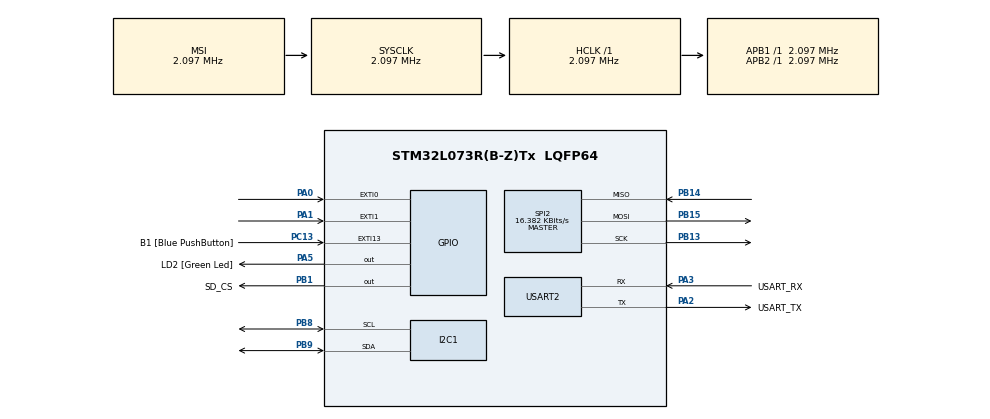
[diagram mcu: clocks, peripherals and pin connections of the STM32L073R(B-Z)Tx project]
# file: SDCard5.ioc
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FREERTOS.INCLUDE_vTaskDelayUntil=1
FREERTOS.Tasks01=defaultTask,0,128,StartDefaultTask,Default,NULL,Dynamic,NULL,NULL
FREERTOS.configTICK_RATE_HZ=1000
FREERTOS.configTOTAL_HEAP_SIZE=10240
I2C1.Timing=0x00000608
Mcu.Family=STM32L0
Mcu.Name=STM32L073R(B-Z)Tx
Mcu.Package=LQFP64
NVIC.EXTI0_1_IRQn=true\:3\:0\:false\:false\:true\:true\:true\:true\:true
PA0.GPIO_ModeDefaultEXTI=GPIO_MODE_IT_FALLING
PA0.GPIO_PuPd=GPIO_PULLUP
PA0.Signal=GPXTI0
PA1.GPIO_ModeDefaultEXTI=GPIO_MODE_IT_FALLING
PA1.GPIO_PuPd=GPIO_PULLUP
PA1.Signal=GPXTI1
PA13.GPIO_Label=TMS
PA13.Mode=Serial_Wire
PA13.Signal=SYS_SWDIO
PA14.GPIO_Label=TCK
PA14.Mode=Serial_Wire
PA14.Signal=SYS_SWCLK
PA2.GPIO_Label=USART_TX
PA2.Mode=Asynchronous
PA2.Signal=USART2_TX
PA3.GPIO_Label=USART_RX
PA3.Mode=Asynchronous
PA3.Signal=USART2_RX
PA5.GPIO_Label=LD2 [Green Led]
PA5.Signal=GPIO_Output
PB1.GPIO_Label=SD_CS
PB1.Signal=GPIO_Output
PB13.Mode=Full_Duplex_Master
PB13.Signal=SPI2_SCK
PB14.Mode=Full_Duplex_Master
PB14.Signal=SPI2_MISO
PB15.Mode=Full_Duplex_Master
PB15.Signal=SPI2_MOSI
PB8.Mode=I2C
PB8.Signal=I2C1_SCL
PB9.Mode=I2C
PB9.Signal=I2C1_SDA
PC13.GPIO_Label=B1 [Blue PushButton]
PC13.GPIO_ModeDefaultEXTI=GPIO_MODE_IT_FALLING
PC13.Signal=GPXTI13
PC14-OSC32_IN.Mode=LSE-External-Oscillator
PC14-OSC32_IN.Signal=RCC_OSC32_IN
PC15-OSC32_OUT.Mode=LSE-External-Oscillator
PC15-OSC32_OUT.Signal=RCC_OSC32_OUT
PH0-OSC_IN.GPIO_Label=MCO
PH0-OSC_IN.Mode=HSE-External-Clock-Source
PH0-OSC_IN.Signal=RCC_OSC_IN
ProjectManager.HeapSize=0x200
ProjectManager.StackSize=0x400
ProjectManager.TargetToolchain=STM32CubeIDE
RCC.AHBFreq_Value=2097000
RCC.APB1Freq_Value=2097000
RCC.APB1TimFreq_Value=2097000
RCC.APB2Freq_Value=2097000
RCC.APB2TimFreq_Value=2097000
RCC.HSE_VALUE=8000000
RCC.HSI16_VALUE=16000000
RCC.HSI48_VALUE=48000000
RCC.HSI_VALUE=16000000
RCC.MSI_VALUE=2097000
RCC.SYSCLKFreq_VALUE=2097000
RCC.VCOOutputFreq_Value=48000000
SPI2.BaudRatePrescaler=SPI_BAUDRATEPRESCALER_128
SPI2.CalculateBaudRate=16.382 KBits/s
SPI2.Direction=SPI_DIRECTION_2LINES
SPI2.Mode=SPI_MODE_MASTER
SPI2.VirtualType=VM_MASTER
USART2.VirtualMode-Asynchronous=VM_ASYNC
VP_FATFS_VS_Generic.Mode=User_defined
VP_FREERTOS_VS_CMSIS_V1.Mode=CMSIS_V1
board=NUCLEO-L073RZ

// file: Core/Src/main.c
/* USER CODE BEGIN Header */
/**
  ******************************************************************************
  * @file           : main.c
  * @brief          : Main program body
  ******************************************************************************
  * @attention
  *
  * Copyright (c) 2024 STMicroelectronics.
  * All rights reserved.
  *
  * This software is licensed under terms that can be found in the LICENSE file
  * in the root directory of this software component.
  * If no LICENSE file comes with this software, it is provided AS-IS.
  *
  ******************************************************************************
  */
/* USER CODE END Header */
#include "main.h"
#include "cmsis_os.h"
#include "fatfs.h"

/* USER CODE BEGIN Includes */
#include <stdbool.h>
#include <stdio.h>
#include "filter.h"
#include <string.h>
#include <stdarg.h> //for va_list var arg functions
/* USER CODE END Includes */

/* USER CODE BEGIN PTD */
#include "FreeRTOS.h"
#include "task.h"
#include "queue.h"
#include "semphr.h"

// Define data structures for raw and processed data
typedef struct {
    uint32_t redLED;
    uint32_t irLED;
} SensorData_t;

typedef struct {
    int bpm;
    float spo2;
} ProcessedData_t;

// Declare queues
QueueHandle_t xQueueSensorData;
QueueHandle_t xQueueProcessedData;

FATFS FatFs; 	//Fatfs handle
FIL fil; 		//File handle
FRESULT fres;
/* USER CODE END PTD */

/* USER CODE BEGIN PD */
	I2C_HandleTypeDef hi2c1;
	UART_HandleTypeDef huart2;
	TaskHandle_t xTemperatureTaskHandle = NULL;
	SemaphoreHandle_t xI2CSemaphore;

	/* Constants */
	const float rThreshold = 0.7;

	const float kLowPassCutoff = 5.0;   // 5 hz
	const float kHighPassCutoff = 0.5;  // 0.5 hz
	const float kSamplingFrequency = 400.0;
	const float kEdgeThreshold = -2000.0;

	const unsigned long kFingerThreshold = 10000;
	const unsigned int kFingerCooldownMs = 500;

	const float decayRate = 0.02;
	const float thrRate = 0.05;
	const int minDiff = 50;
	const uint32_t fingerThreshold = 10000;  // threshold for detecting a finger on the sensor

	float maxValue = 0;
	float minValue = 0;
	float threshold = 0;
	long lastHeartbeat = 0;
	float lastValue = 0;
	int fingerDetected = 0;

	float last_diff = NAN;
	bool crossed = false;
	long crossed_time = 0;
	/* variables */
	LowPassFilter low_pass_filter_red;
	LowPassFilter low_pass_filter_ir;
	HighPassFilter high_pass_filter;
	LowPassFilter low_pass_filter;
	Differentiator differentiator;
	MovingAverageFilter moving_avg_filter;
	MovingAverageFilter moving_avg_bpm;
	MovingAverageFilter moving_avg_spo2;
	/* statistic Variables */
	MinMaxAvgStatistic stat_red;
	MinMaxAvgStatistic stat_ir;

	/* finger Detection */
	long finger_timestamp = 0;
	bool finger_detected = false;

	void initialize_filters() {
		HighPassFilter_Init(&high_pass_filter, kHighPassCutoff, kSamplingFrequency);
		LowPassFilter_Init(&low_pass_filter_red, kLowPassCutoff, kSamplingFrequency);
		LowPassFilter_Init(&low_pass_filter_ir, kLowPassCutoff, kSamplingFrequency);
		Differentiator_Init(&differentiator, kSamplingFrequency);
		MovingAverageFilter_Init(&moving_avg_filter);
		MovingAverageFilter_Init(&moving_avg_bpm);
		MovingAverageFilter_Init(&moving_avg_spo2);
	}

	/* SpO2 Calibration Coefficients */
	float kSpO2_A = 1.5958422;
	float kSpO2_B = -34.6596622;
	float kSpO2_C = 112.6898759;

	/* Pulse Oximetry SpO2 Calculation */
	float calculate_SpO2(float rred, float rir) {
		float r = rred / rir;
		float spo2 = kSpO2_A * r * r + kSpO2_B * r + kSpO2_C;
		return spo2;
	}
/* USER CODE END PD */

I2C_HandleTypeDef hi2c1;

SPI_HandleTypeDef hspi2;

UART_HandleTypeDef huart2;

osThreadId defaultTaskHandle;
/* USER CODE BEGIN PV */
#define MAX30102_ADDRESS  0x57 // I2C address ==== of MAX30102

void Transmit_UART(const char *msg) {
		HAL_UART_Transmit(&huart2, (uint8_t*)msg, strlen(msg), HAL_MAX_DELAY);
	}

void MAX30102_Init(void) {
	uint8_t configData[2];

//		0,1 == adress, value
	configData[0] = 0x09;  // select MODE_CONFIG register
	configData[1] = 0x03;  // set SpO2 mode (0x03== SpO2, 0x02 == heart rate only)
//		hi2cl handler for i2c
//		address shifterd by 1 only 7 bit sent (required)
//		2 indicate only 2 bytes to send

	HAL_I2C_Master_Transmit(&hi2c1, MAX30102_ADDRESS << 1, configData, 2, HAL_MAX_DELAY);

	// Set the LED pulse amplitude (this is an example, values need to be set properly)
	configData[0] = 0x0C;  // LED1_PULSE_AMPLITUDE ka register
	configData[1] = 0x1F;  // set the pulse amplitude for LED1 (Red LED we can see naked eyes)
	//		hi2cl handler for i2c
	//		adreess shifterd by 1 only 7 bit sent (required)
	//		2 indicate only 2 bytes to send

	HAL_I2C_Master_Transmit(&hi2c1, MAX30102_ADDRESS << 1, configData, 2, HAL_MAX_DELAY);

	// set LED2 (IR LED) pulse Amplitude
	configData[0] = 0x0D;  //register of ir led
	configData[1] = 0x1F;  // infra red LED
	//		hi2cl handler for i2c
	//		adreess shifterd by 1 only 7 bit sent (required)
	//		2 indicate only 2 bytes to send
	//		HAL_MAX_DELAY allows operation to block until successful trastmittion
	HAL_I2C_Master_Transmit(&hi2c1, MAX30102_ADDRESS << 1, configData, 2, HAL_MAX_DELAY);

}

void MAX30102_ReadRawData(uint32_t* redLED, uint32_t* irLED) {
	uint8_t rawData[6];  // 6 byte array as MAX30102 outputs 3 bytes for each LED data
	char uartBuf[50];
	// reading from FIFO register of MAX30102
	xSemaphoreTake(xI2CSemaphore, portMAX_DELAY);
	if (HAL_I2C_Mem_Read(&hi2c1, MAX30102_ADDRESS << 1, 0x07, I2C_MEMADD_SIZE_8BIT, rawData, 6, HAL_MAX_DELAY) != HAL_OK) {
		sprintf(uartBuf, "I2C read error\r\n");
		HAL_UART_Transmit(&huart2, (uint8_t*)uartBuf, strlen(uartBuf), HAL_MAX_DELAY);
        // Release the mutex before error handling
        xSemaphoreGive(xI2CSemaphore);
		Error_Handler();  //  keep printing this message === so  avoid halting the program
	}
    // Release the mutex after I2C operations
    xSemaphoreGive(xI2CSemaphore);
	// combine 3 bytes for each LED (Red and IR)
	*redLED = ((uint32_t)rawData[0] << 16) | ((uint32_t)rawData[1] << 8) | rawData[2];
	*irLED = ((uint32_t)rawData[3] << 16) | ((uint32_t)rawData[4] << 8) | rawData[5];
}

// register Addresses
//	#define MAX30105_INTSTAT1      0x00  // Interrupt Status 1
#define MAX30105_INTSTAT2      0x01  // Interrupt Status 2 stat of interupt  temp 1
//	#define MAX30105_INTENABLE1    0x02  // Interrupt Enable 1
#define MAX30105_INTENABLE2    0x03  // Interrupt Enable 2 INT_DIE_TEMP_RDY_ENABLE
#define MAX30105_DIETEMPCONFIG 0x21  // Die Temperature Config
#define MAX30105_TEMP_INTEGER  0x1F  // Temperature Integer Part
#define MAX30105_TEMP_FRACTION 0x20  // Temperature Fractional Part

#define MAX30105_INT_DIE_TEMP_RDY_ENABLE 0x02  // Bit 1

void CheckAndClearInterruptStatus(void) {
    uint8_t intStatus = 0;  // Variable to store the interrupt status
    char uartBuf[50];

    // Read the Interrupt Status 2 register (0x01)
    HAL_StatusTypeDef status = HAL_I2C_Mem_Read(&hi2c1, MAX30102_ADDRESS << 1, MAX30105_INTSTAT2, I2C_MEMADD_SIZE_8BIT, &intStatus, 1, HAL_MAX_DELAY);

    if (status == HAL_OK) {
        // Successfully read the register, output the status
        sprintf(uartBuf, "Interrupt Status 2: 0x%02X\r\n", intStatus);
        HAL_UART_Transmit(&huart2, (uint8_t*)uartBuf, strlen(uartBuf), HAL_MAX_DELAY);

        // Check if the DIE_TEMP_RDY bit (bit 1) is set
        if (intStatus & MAX30105_INT_DIE_TEMP_RDY_ENABLE) {
            sprintf(uartBuf, "Temperature Ready Interrupt was set, cleared now.\r\n");
            HAL_UART_Transmit(&huart2, (uint8_t*)uartBuf, strlen(uartBuf), HAL_MAX_DELAY);
        } else {
            sprintf(uartBuf, "No Temperature Ready Interrupt pending.\r\n");
            HAL_UART_Transmit(&huart2, (uint8_t*)uartBuf, strlen(uartBuf), HAL_MAX_DELAY);
        }
    } else {
        // If the read fails, output an error message
        sprintf(uartBuf, "Failed to read Interrupt Status 2 register.\r\n");
        HAL_UART_Transmit(&huart2, (uint8_t*)uartBuf, strlen(uartBuf), HAL_MAX_DELAY);
        Error_Handler();
    }
}

void MAX30102_EnableTemperatureInterrupt(void) {
    uint8_t data = MAX30105_INT_DIE_TEMP_RDY_ENABLE;
    // write to INT_ENABLE_2 register (0x03)
    HAL_I2C_Mem_Write(&hi2c1, MAX30102_ADDRESS << 1, MAX30105_INTENABLE2,
                      I2C_MEMADD_SIZE_8BIT, &data, 1, HAL_MAX_DELAY);
    char uartBuf[50];
    sprintf(uartBuf, "Interrupt enabled...\r\n");
    HAL_UART_Transmit(&huart2, (uint8_t*)uartBuf, strlen(uartBuf), HAL_MAX_DELAY);

}

// function to start temperature measurement on MAX30102
void MAX30102_StartTemperatureMeasurement(void) {
    uint8_t data = 0x01;  // Start temperature measurement
    // Take the I2C mutex
    xSemaphoreTake(xI2CSemaphore, portMAX_DELAY);
    // Write to TEMP_CONFIG register (0x21)
    HAL_I2C_Mem_Write(&hi2c1, MAX30102_ADDRESS << 1, MAX30105_DIETEMPCONFIG,
                      I2C_MEMADD_SIZE_8BIT, &data, 1, HAL_MAX_DELAY);

    // Release the mutex
    xSemaphoreGive(xI2CSemaphore);
}

// function reading temperature after interrupt signals it's ready
float MAX30102_ReadTemperature(void) {
    uint8_t tempInt = 0, tempFrac = 0;

    // Take the I2C mutex
        xSemaphoreTake(xI2CSemaphore, portMAX_DELAY);
    // Read integer part of temperature
    HAL_I2C_Mem_Read(&hi2c1, MAX30102_ADDRESS << 1, MAX30105_TEMP_INTEGER,
                     I2C_MEMADD_SIZE_8BIT, &tempInt, 1, HAL_MAX_DELAY);
    // Read fractional part of temperature
    HAL_I2C_Mem_Read(&hi2c1, MAX30102_ADDRESS << 1, MAX30105_TEMP_FRACTION,
                     I2C_MEMADD_SIZE_8BIT, &tempFrac, 1, HAL_MAX_DELAY);
    // Calculate temperature in degrees Celsius

    // Release the mutex
    xSemaphoreGive(xI2CSemaphore);

    return (float)tempInt + ((float)tempFrac * 0.0625);
}

// fnterrupt callback for PA1 external interrupt
void HAL_GPIO_EXTI_Callback(uint16_t GPIO_Pin)
{
    BaseType_t xHigherPriorityTaskWoken = pdFALSE;
    if (GPIO_Pin == GPIO_PIN_1) // Assuming PA1 is connected to MAX30102 interrupt
    {
        // Defer processing to the TemperatureTask
        vTaskNotifyGiveFromISR(xTemperatureTaskHandle, &xHigherPriorityTaskWoken);
        portYIELD_FROM_ISR(xHigherPriorityTaskWoken);
    }
    if (GPIO_Pin == GPIO_PIN_0) // Assuming PB0 is connected to MAX30102 interrupt
    {
        // Defer processing to the TemperatureTask
        vTaskNotifyGiveFromISR(xTemperatureTaskHandle, &xHigherPriorityTaskWoken);
        portYIELD_FROM_ISR(xHigherPriorityTaskWoken);
    }
}

int Detect_Finger(uint32_t redLED) {
	return (redLED > fingerThreshold);
}

void Process_Heartbeat(uint32_t redLED) {
	char uartBuf[100];
	float currentValue = (float)redLED;

	// pdate max and min values
	maxValue = fmaxf(maxValue, currentValue);
	minValue = fminf(minValue, currentValue);

	// alculate dynamic threshold
	float nthreshold = (maxValue - minValue) * rThreshold + minValue;
	threshold = threshold * (1 - thrRate) + nthreshold * thrRate;
	threshold = fminf(maxValue, fmaxf(minValue, threshold));

	// check if the heartbeat is detected
	if (currentValue >= threshold && lastValue < threshold && (maxValue - minValue) > minDiff && HAL_GetTick() - lastHeartbeat > 300) {
		if (lastHeartbeat != 0) {
			int bpm = 60000 / (HAL_GetTick() - lastHeartbeat);
			if (bpm > 0 && bpm < 25000) {
				sprintf(uartBuf, "Heart Rate (BPM): %d\r\n", bpm);
				Transmit_UART(uartBuf);
			}
		}
		lastHeartbeat = HAL_GetTick();
	}

	// Apply decay to max/min
	maxValue -= (maxValue - currentValue) * decayRate;
	minValue += (currentValue - minValue) * decayRate;

	lastValue = currentValue;
}
/* USER CODE END PV */

void SystemClock_Config(void);
static void MX_GPIO_Init(void);
static void MX_USART2_UART_Init(void);
static void MX_SPI2_Init(void);
static void MX_I2C1_Init(void);
void StartDefaultTask(void const * argument);

/* USER CODE BEGIN PFP */
void myprintf(const char *fmt, ...);
/* USER CODE END PFP */

/* USER CODE BEGIN 0 */
void myprintf(const char *fmt, ...) {
  static char buffer[256];
  va_list args;
  va_start(args, fmt);
  vsnprintf(buffer, sizeof(buffer), fmt, args);
  va_end(args);

  int len = strlen(buffer);
  HAL_UART_Transmit(&huart2, (uint8_t*)buffer, len, -1);

}

void SensingTask(void *pvParameters)
{
//	myprintf("sensing ke andar\r\n");
//	TickType_t xLastWakeTime;
//    const TickType_t xFrequency = pdMS_TO_TICKS(10); // Sampling rate of 100Hz

    // Initialize last wake time
//    xLastWakeTime = xTaskGetTickCount();
    SensorData_t sensorData;

    for (;;)
    {
        // Wait for the next cycle
//    	myprintf("SensingTask for loop \r\n");
//        vTaskDelayUntil(&xLastWakeTime, xFrequency);

        // Read data from the sensor
        uint32_t redLED, irLED;
        MAX30102_ReadRawData(&redLED, &irLED);

        // Create sensor data structure

        sensorData.redLED = redLED;
        sensorData.irLED = irLED;
        // Send data to the processing task
        xQueueSend(xQueueSensorData, &sensorData, portMAX_DELAY);

        // Send data to the processing task
//        if (xQueueSend(xQueueSensorData, &sensorData, portMAX_DELAY) != pdPASS) {
//            myprintf("Failed to send sensor data to queue\r\n");
//        }

    }
}

void ProcessingTask(void *pvParameters)
{
    myprintf("Processing Task Started.\r\n");

    SensorData_t sensorData;
    ProcessedData_t processedData;

    // Initialize filters and statistics
    initialize_filters();

    // Variables for processing
    float last_diff = NAN;
    bool crossed = false;
    uint32_t lastHeartbeat = 0;
    uint32_t crossed_time = 0; // Moved outside the if-block
    MinMaxAvgStatistic stat_red;
    MinMaxAvgStatistic stat_ir;
    MovingAverageFilter moving_avg_bpm;
    MovingAverageFilter moving_avg_spo2;

    // Initialize statistics and filters
    MinMaxAvgStatistic_Reset(&stat_red);
    MinMaxAvgStatistic_Reset(&stat_ir);
    MovingAverageFilter_Init(&moving_avg_bpm);
    MovingAverageFilter_Init(&moving_avg_spo2);

    for (;;)
    {
//        myprintf("ProcessingTask waiting for data.\r\n");

        // Wait for data from the sensing task
        if (xQueueReceive(xQueueSensorData, &sensorData, portMAX_DELAY) == pdPASS)
        {
//            myprintf("ProcessingTask received sensor data.\r\n");

            // Process the data
            uint32_t redLED = sensorData.redLED;
            uint32_t irLED = sensorData.irLED;

            float current_value_red = (float)redLED;
            float current_value_ir = (float)irLED;
            bool fingerIsDetected = Detect_Finger(current_value_red);

            if (fingerIsDetected)
            {
//                myprintf("Finger detected.\r\n");

                // Apply low-pass filters
                current_value_red = LowPassFilter_Process(&low_pass_filter_red, current_value_red);
                current_value_ir = LowPassFilter_Process(&low_pass_filter_ir, current_value_ir);

                // Update statistics
                MinMaxAvgStatistic_Process(&stat_red, current_value_red);
                MinMaxAvgStatistic_Process(&stat_ir, current_value_ir);

                // Apply high-pass filter and differentiator
                float high_passed = HighPassFilter_Process(&high_pass_filter, current_value_red);
                float current_diff = Differentiator_Process(&differentiator, high_passed);

                if (!isnan(current_diff) && !isnan(last_diff))
                {
                    // Detect heartbeat via zero-crossing
                    if (last_diff > 0 && current_diff < 0)
                    {
                        crossed = true;
                        crossed_time = xTaskGetTickCount();
//                        myprintf("Zero-crossing detected.\r\n");
                    }

                    if (crossed && current_diff < kEdgeThreshold)
                    {
//                    	myprintf("we are in final calculation\r\n");
                        // Calculate heart rate (BPM)
                        if (lastHeartbeat != 0)
                        {
                            uint32_t interval_ticks = crossed_time - lastHeartbeat;
                            // Assuming configTICK_RATE_HZ is 1000, interval_ticks = interval_ms
                            int bpm = 60000 / interval_ticks;

                            // Calculate R-values for SpO2 calculation
                            float rred = (MinMaxAvgStatistic_Maximum(&stat_red) - MinMaxAvgStatistic_Minimum(&stat_red)) / MinMaxAvgStatistic_Average(&stat_red);
                            float rir = (MinMaxAvgStatistic_Maximum(&stat_ir) - MinMaxAvgStatistic_Minimum(&stat_ir)) / MinMaxAvgStatistic_Average(&stat_ir);
                            float spo2 = calculate_SpO2(rred, rir);

                            if (bpm > 5 && bpm < 250)
                            {
                                // Apply moving average filters
                                processedData.bpm = MovingAverageFilter_Process(&moving_avg_bpm, bpm);
                                processedData.spo2 = MovingAverageFilter_Process(&moving_avg_spo2, spo2);
//                                myprintf("Heart Rate Process: %d BPM, SpO2: %.2f%%\r\n", processedData.bpm, processedData.spo2);
                                // Send processed data to SDCardWritingTask
                                xQueueSend(xQueueProcessedData, &processedData, portMAX_DELAY);
//                                if (xQueueSend(xQueueProcessedData, &processedData, portMAX_DELAY) != pdPASS) {
//                                    myprintf("Failed to send processed data to queue.\r\n");
//                                }

                                // UART Transmission

                            }
                        }
                        crossed = false;
                        lastHeartbeat = crossed_time;
                    }
                }
                last_diff = current_diff;
            }
            else
            {
//                myprintf("Place Finger.\r\n");

                // Reset all processing variables and filters
                Differentiator_Reset(&differentiator);
                MovingAverageFilter_Reset(&moving_avg_bpm);
                MovingAverageFilter_Reset(&moving_avg_spo2);
                LowPassFilter_Reset(&low_pass_filter_red);
                LowPassFilter_Reset(&low_pass_filter_ir);
                HighPassFilter_Reset(&high_pass_filter);
                MinMaxAvgStatistic_Reset(&stat_red);
                MinMaxAvgStatistic_Reset(&stat_ir);
                last_diff = NAN;
                crossed = false;
                lastHeartbeat = 0;
                crossed_time = 0;
            }
        }
    }
}

void SDCardWritingTask(void *pvParameters)
{
//	myprintf("sdcard ke andar \r\n");
    ProcessedData_t processedData;
    char dataBuf[100];

    for (;;)
    {
//    	myprintf("sdcard ke for loop \r\n");
        // Wait for processed data

        if (xQueueReceive(xQueueProcessedData, &processedData, portMAX_DELAY) == pdPASS)
        {
            // Write data to SD card
//        	myprintf("sdcard data mila\r\n");

//            myprintf("Heart Rate: %d BPM, SpO2: %.2f%%\r\n", processedData.bpm, (double)processedData.spo2);
            sprintf(dataBuf,"Heart Rate: %i BPM, SpO2: %.2f%%\r\n", processedData.bpm, processedData.spo2);
            myprintf(dataBuf);
//             Open the file for appending data
//            myprintf("just before");
            fres = f_open(&fil, "save.txt", FA_WRITE | FA_OPEN_APPEND);
            if (fres == FR_OK)
            {myprintf("open ok \r\n");}
            else
            {myprintf("error\r\n");}

            UINT bytesWrote;
             fres = f_write(&fil, dataBuf, strlen(dataBuf), &bytesWrote);
             if (fres == FR_OK)
             {myprintf("save ok\r\n");}
             else
             {myprintf("error\r\n");}
            f_close(&fil);

            // Optionally, send the data via UART
//            HAL_UART_Transmit(&huart2, (uint8_t *)dataBuf, strlen(dataBuf), HAL_MAX_DELAY);
        }
    }
}

void TemperatureTask(void *pvParameters)
{
//    FATFS FatFs;

    char dataBuf[100];

    for (;;)
    {
        // Wait for notification from ISR
        ulTaskNotifyTake(pdTRUE, portMAX_DELAY);

        // Read the temperature
        float temperature = MAX30102_ReadTemperature();

        // Process the data (if any processing is needed)
        // For example, apply a moving average filter or convert units

        // Write to SD card

        sprintf(dataBuf, "Temperature: %.2f°C\r\n", temperature);

        // Open the file for appending data
        fres = f_open(&fil, "save.txt", FA_WRITE | FA_OPEN_APPEND );
        if (fres == FR_OK)
        {myprintf("open ok \r\n");}
        else
        {myprintf("error\r\n");}

        UINT bytesWrote;
         fres = f_write(&fil, dataBuf, strlen(dataBuf), &bytesWrote);
         if (fres == FR_OK)
         {myprintf("save ok\r\n");}
         else
         {myprintf("error\r\n");}
        f_close(&fil);

        // Optionally, send the data via UART
        HAL_UART_Transmit(&huart2, (uint8_t *)dataBuf, strlen(dataBuf), HAL_MAX_DELAY);

        // Start a new temperature measurement
        MAX30102_StartTemperatureMeasurement();
    }
}

/* USER CODE END 0 */

int main(void)
{

  /* MCU Configuration--------------------------------------------------------*/

  /* Reset of all peripherals, Initializes the Flash interface and the Systick. */
  HAL_Init();

  /* Configure the system clock */
  SystemClock_Config();

  /* Initialize all configured peripherals */
  MX_GPIO_Init();
  MX_USART2_UART_Init();
  MX_SPI2_Init();
  MX_FATFS_Init();
  MX_I2C1_Init();
  /* USER CODE BEGIN 2 */
  myprintf("\r\n~ SD card demo by kiwih ~\r\n\r\n");

    HAL_Delay(1000); //a short delay is important to let the SD card settle

    //some variables for FatFs
 //Result after operations

    //Open the file system
    fres = f_mount(&FatFs, "", 1); //1=mount now
    if (fres != FR_OK) {
  	myprintf("f_mount error (%i)\r\n", fres);
  	while(1);
    }

    //Let's get some statistics from the SD card
    DWORD free_clusters, free_sectors, total_sectors;

    FATFS* getFreeFs;

    fres = f_getfree("", &free_clusters, &getFreeFs);
    if (fres != FR_OK) {
  	myprintf("f_getfree error (%i)\r\n", fres);
  	while(1);
    }

    //Formula comes from ChaN's documentation
    total_sectors = (getFreeFs->n_fatent - 2) * getFreeFs->csize;
    free_sectors = free_clusters * getFreeFs->csize;

    myprintf("SD card stats:\r\n%10lu KiB total drive space.\r\n%10lu KiB available.\r\n", total_sectors / 2, free_sectors / 2);

    //Now let's try to open file "test.txt"
    fres = f_open(&fil, "test.txt", FA_READ);
    if (fres != FR_OK) {
  	myprintf("f_open error (%i)\r\n");
  	while(1);
    }
    myprintf("I was able to open 'test.txt' for reading!\r\n");

    //Read 30 bytes from "test.txt" on the SD card
    BYTE readBuf[30];

    //We can either use f_read OR f_gets to get data out of files
    //f_gets is a wrapper on f_read that does some string formatting for us
    TCHAR* rres = f_gets((TCHAR*)readBuf, 30, &fil);
    if(rres != 0) {
  	myprintf("Read string from 'test.txt' contents: %s\r\n", readBuf);
    } else {
  	myprintf("f_gets error (%i)\r\n", fres);
    }

    //Be a tidy kiwi - don't forget to close your file!
    f_close(&fil);

    //Now let's try and write a file "write.txt"
    fres = f_open(&fil, "save.txt", FA_WRITE | FA_OPEN_ALWAYS | FA_CREATE_ALWAYS);
    if(fres == FR_OK) {
  	myprintf("I was able to open 'save.txt' for writing\r\n");
    } else {
  	myprintf("f_open error (%i)\r\n", fres);
    }

    //Copy in a string
    strncpy((char*)readBuf, "a new file is made!\r\n", strlen("a new file is made!\r\n"));
    UINT bytesWrote;
    fres = f_write(&fil, readBuf, strlen("a new file is made!\r\n"), &bytesWrote);
    if(fres == FR_OK) {
  	myprintf("Wrote %i bytes to 'save.txt'!\r\n", bytesWrote);
    } else {
  	myprintf("f_write error (%i)\r\n");
    }

    //Be a tidy kiwi - don't forget to close your file!
    f_close(&fil);

    //We're done, so de-mount the drive
//    f_mount(NULL, "", 0);

    //a2...............................................................................

//	uint32_t redLED, irLED;
	char uartBuf[100];  // buffer for  messages
	sprintf(uartBuf, "UART initialezed. waiting for sensor data...\r\n");
	HAL_UART_Transmit(&huart2, (uint8_t*)uartBuf, strlen(uartBuf), HAL_MAX_DELAY);
	// MAX30102 sensor
	MAX30102_Init();
	MAX30102_EnableTemperatureInterrupt();
		  // filters
	initialize_filters();

	xI2CSemaphore = xSemaphoreCreateMutex();

	//    // Start the first temperature measurement
	    MAX30102_StartTemperatureMeasurement();

	xQueueSensorData = xQueueCreate(100, sizeof(SensorData_t));
	xQueueProcessedData = xQueueCreate(100, sizeof(ProcessedData_t));

	// Create Tasks
    BaseType_t a;
    // Create the tasks
    a= xTaskCreate(SensingTask, "SensingTask", 128, NULL, 2, NULL);

    if (a != pdPASS) {
        myprintf("Failed to create SensingTask\r\n");
        while(1);
    }
    a = xTaskCreate(ProcessingTask, "ProcessingTask", 256, NULL, 2, NULL);

    if (a != pdPASS) {
        myprintf("Failed to create ProcessingTask\r\n");
        while(1);
    }
    a = xTaskCreate(SDCardWritingTask, "SDCardWritingTask", 256, NULL, 2, NULL);
    if (a != pdPASS) {
        myprintf("Failed to create SDCardWritingTask\r\n");
        while(1);
    }

    // Create the TemperatureTask
    xTaskCreate(TemperatureTask, "TemperatureTask", 512, NULL, 2, &xTemperatureTaskHandle);

  /* USER CODE END 2 */

  /* Create the thread(s) */
  /* definition and creation of defaultTask */
  osThreadDef(defaultTask, StartDefaultTask, osPriorityNormal, 0, 128);
  defaultTaskHandle = osThreadCreate(osThread(defaultTask), NULL);

  /* Start scheduler */
  osKernelStart();

  /* We should never get here as control is now taken by the scheduler */

  /* Infinite loop */
  while (1)
  {

		  }
}

void SystemClock_Config(void)
{
  RCC_OscInitTypeDef RCC_OscInitStruct = {0};
  RCC_ClkInitTypeDef RCC_ClkInitStruct = {0};
  RCC_PeriphCLKInitTypeDef PeriphClkInit = {0};

  /** Configure the main internal regulator output voltage
  */
  __HAL_PWR_VOLTAGESCALING_CONFIG(PWR_REGULATOR_VOLTAGE_SCALE1);

  /** Initializes the RCC Oscillators according to the specified parameters
  * in the RCC_OscInitTypeDef structure.
  */
  RCC_OscInitStruct.OscillatorType = RCC_OSCILLATORTYPE_MSI;
  RCC_OscInitStruct.MSIState = RCC_MSI_ON;
  RCC_OscInitStruct.MSICalibrationValue = 0;
  RCC_OscInitStruct.MSIClockRange = RCC_MSIRANGE_5;
  RCC_OscInitStruct.PLL.PLLState = RCC_PLL_NONE;
  if (HAL_RCC_OscConfig(&RCC_OscInitStruct) != HAL_OK)
  {
    Error_Handler();
  }

  /** Initializes the CPU, AHB and APB buses clocks
  */
  RCC_ClkInitStruct.ClockType = RCC_CLOCKTYPE_HCLK|RCC_CLOCKTYPE_SYSCLK
                              |RCC_CLOCKTYPE_PCLK1|RCC_CLOCKTYPE_PCLK2;
  RCC_ClkInitStruct.SYSCLKSource = RCC_SYSCLKSOURCE_MSI;
  RCC_ClkInitStruct.AHBCLKDivider = RCC_SYSCLK_DIV1;
  RCC_ClkInitStruct.APB1CLKDivider = RCC_HCLK_DIV1;
  RCC_ClkInitStruct.APB2CLKDivider = RCC_HCLK_DIV1;

  if (HAL_RCC_ClockConfig(&RCC_ClkInitStruct, FLASH_LATENCY_0) != HAL_OK)
  {
    Error_Handler();
  }
  PeriphClkInit.PeriphClockSelection = RCC_PERIPHCLK_USART2|RCC_PERIPHCLK_I2C1;
  PeriphClkInit.Usart2ClockSelection = RCC_USART2CLKSOURCE_PCLK1;
  PeriphClkInit.I2c1ClockSelection = RCC_I2C1CLKSOURCE_PCLK1;
  if (HAL_RCCEx_PeriphCLKConfig(&PeriphClkInit) != HAL_OK)
  {
    Error_Handler();
  }
}

static void MX_I2C1_Init(void)
{

  hi2c1.Instance = I2C1;
  hi2c1.Init.Timing = 0x00000608;
  hi2c1.Init.OwnAddress1 = 0;
  hi2c1.Init.AddressingMode = I2C_ADDRESSINGMODE_7BIT;
  hi2c1.Init.DualAddressMode = I2C_DUALADDRESS_DISABLE;
  hi2c1.Init.OwnAddress2 = 0;
  hi2c1.Init.OwnAddress2Masks = I2C_OA2_NOMASK;
  hi2c1.Init.GeneralCallMode = I2C_GENERALCALL_DISABLE;
  hi2c1.Init.NoStretchMode = I2C_NOSTRETCH_DISABLE;
  if (HAL_I2C_Init(&hi2c1) != HAL_OK)
  {
    Error_Handler();
  }

  /** Configure Analogue filter
  */
  if (HAL_I2CEx_ConfigAnalogFilter(&hi2c1, I2C_ANALOGFILTER_ENABLE) != HAL_OK)
  {
    Error_Handler();
  }

  /** Configure Digital filter
  */
  if (HAL_I2CEx_ConfigDigitalFilter(&hi2c1, 0) != HAL_OK)
  {
    Error_Handler();
  }

}

static void MX_SPI2_Init(void)
{

  /* SPI2 parameter configuration*/
  hspi2.Instance = SPI2;
  hspi2.Init.Mode = SPI_MODE_MASTER;
  hspi2.Init.Direction = SPI_DIRECTION_2LINES;
  hspi2.Init.DataSize = SPI_DATASIZE_8BIT;
  hspi2.Init.CLKPolarity = SPI_POLARITY_LOW;
  hspi2.Init.CLKPhase = SPI_PHASE_1EDGE;
  hspi2.Init.NSS = SPI_NSS_SOFT;
  hspi2.Init.BaudRatePrescaler = SPI_BAUDRATEPRESCALER_128;
  hspi2.Init.FirstBit = SPI_FIRSTBIT_MSB;
  hspi2.Init.TIMode = SPI_TIMODE_DISABLE;
  hspi2.Init.CRCCalculation = SPI_CRCCALCULATION_DISABLE;
  hspi2.Init.CRCPolynomial = 7;
  if (HAL_SPI_Init(&hspi2) != HAL_OK)
  {
    Error_Handler();
  }

}

static void MX_USART2_UART_Init(void)
{

  huart2.Instance = USART2;
  huart2.Init.BaudRate = 115200;
  huart2.Init.WordLength = UART_WORDLENGTH_8B;
  huart2.Init.StopBits = UART_STOPBITS_1;
  huart2.Init.Parity = UART_PARITY_NONE;
  huart2.Init.Mode = UART_MODE_TX_RX;
  huart2.Init.HwFlowCtl = UART_HWCONTROL_NONE;
  huart2.Init.OverSampling = UART_OVERSAMPLING_16;
  huart2.Init.OneBitSampling = UART_ONE_BIT_SAMPLE_DISABLE;
  huart2.AdvancedInit.AdvFeatureInit = UART_ADVFEATURE_NO_INIT;
  if (HAL_UART_Init(&huart2) != HAL_OK)
  {
    Error_Handler();
  }

}

static void MX_GPIO_Init(void)
{
  GPIO_InitTypeDef GPIO_InitStruct = {0};

  /* GPIO Ports Clock Enable */
  __HAL_RCC_GPIOC_CLK_ENABLE();
  __HAL_RCC_GPIOH_CLK_ENABLE();
  __HAL_RCC_GPIOA_CLK_ENABLE();
  __HAL_RCC_GPIOB_CLK_ENABLE();

  /*Configure GPIO pin Output Level */
  HAL_GPIO_WritePin(LD2_GPIO_Port, LD2_Pin, GPIO_PIN_RESET);

  /*Configure GPIO pin Output Level */
  HAL_GPIO_WritePin(SD_CS_GPIO_Port, SD_CS_Pin, GPIO_PIN_RESET);

  /*Configure GPIO pin : B1_Pin */
  GPIO_InitStruct.Pin = B1_Pin;
  GPIO_InitStruct.Mode = GPIO_MODE_IT_FALLING;
  GPIO_InitStruct.Pull = GPIO_NOPULL;
  HAL_GPIO_Init(B1_GPIO_Port, &GPIO_InitStruct);

  /*Configure GPIO pins : PA0 PA1 */
  GPIO_InitStruct.Pin = GPIO_PIN_0|GPIO_PIN_1;
  GPIO_InitStruct.Mode = GPIO_MODE_IT_FALLING;
  GPIO_InitStruct.Pull = GPIO_PULLUP;
  HAL_GPIO_Init(GPIOA, &GPIO_InitStruct);

  /*Configure GPIO pin : LD2_Pin */
  GPIO_InitStruct.Pin = LD2_Pin;
  GPIO_InitStruct.Mode = GPIO_MODE_OUTPUT_PP;
  GPIO_InitStruct.Pull = GPIO_NOPULL;
  GPIO_InitStruct.Speed = GPIO_SPEED_FREQ_LOW;
  HAL_GPIO_Init(LD2_GPIO_Port, &GPIO_InitStruct);

  /*Configure GPIO pin : SD_CS_Pin */
  GPIO_InitStruct.Pin = SD_CS_Pin;
  GPIO_InitStruct.Mode = GPIO_MODE_OUTPUT_PP;
  GPIO_InitStruct.Pull = GPIO_NOPULL;
  GPIO_InitStruct.Speed = GPIO_SPEED_FREQ_LOW;
  HAL_GPIO_Init(SD_CS_GPIO_Port, &GPIO_InitStruct);

  /* EXTI interrupt init*/
  HAL_NVIC_SetPriority(EXTI0_1_IRQn, 7, 0);
  HAL_NVIC_EnableIRQ(EXTI0_1_IRQn);

}

void StartDefaultTask(void const * argument)
{
  for(;;)
  {
    osDelay(1);
  }
}

void Error_Handler(void)
{
  __disable_irq();
  while (1)
  {
  }
}
